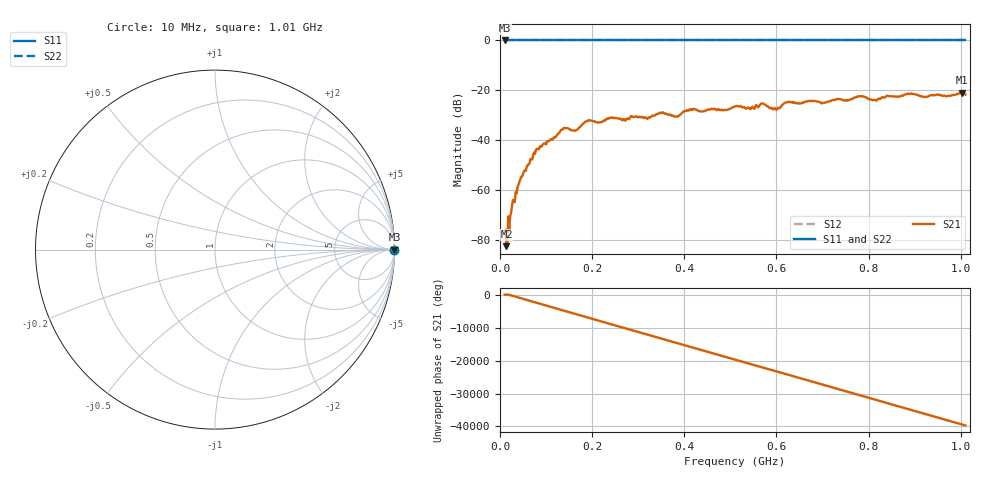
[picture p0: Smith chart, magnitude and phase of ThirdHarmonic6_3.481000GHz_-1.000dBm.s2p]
! 8/17/2025 11:19:19 AM
! C:\ANRITSUVNA\TEMP\TEMP.S2P
! CHANNEL.1
! TR.MEASUREMENT
! RAW.DATA
! RF.CORRECTION.OFF
! AVERAGING.OFF
! IF.BANDWIDTH: 5KHZ
! SWEEPTYPE:  FREQ.SWEEP(Linear)
! Reference Plane Port Info
! PORT:  PORT1  PORT2
! DISTANCE:  0  m  0  m
! TIME:  0  s  0  s
! PHASE.OFFSET:  0  deg.  0  deg.
! LOSS:  0  dB  0  dB
! REF.LOSS:  0  dB  0  dB
! REF.FREQ:  0  Hz  0  Hz
! Power Info
! POWER:  -20  dBm  -20  dBm
! EFF.POWER:  -20  dBm  -20  dBm
! SOURCE.ATTEN:  0  dB  0  dB
! TEST.ATTEN:  0  dB  0  dB
# GHZ S RI R 50.0
! FREQ.GHZ  S11RE  S11IM  S21RE  S21IM  S12RE  S12IM  S22RE  S22IM
!; PortSelection: Port_12
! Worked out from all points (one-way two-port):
!   501 points, 10 MHz to 1.01 GHz, reference 50 ohm
!   highest |S21| = -20.96 dB at 1.002 GHz (marker M1); lowest = -82.5 dB at 14 MHz (marker M2)
!   lowest |S11| = 0.0 dB at 10 MHz (marker M3)
!   |S11| at or under -10 dB: nowhere
!   |S22| runs from 0.0 to 0.0 dB; largest |S21 - S12| = 1.1
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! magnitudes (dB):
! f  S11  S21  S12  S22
! 10 MHz  0.0  -77.1  0.0  0.0
! 14 MHz  0.0  -82.5  0.0  0.0
! 18 MHz  0.0  -70.5  0.0  0.0
! 26 MHz  0.0  -66.3  0.0  0.0
! 42 MHz  0.0  -56.8  0.0  0.0
! 76 MHz  0.0  -45.5  0.0  0.0
! 136 MHz  0.0  -35.7  0.0  0.0
! 162 MHz  0.0  -36.2  0.0  0.0
! 178 MHz  0.0  -33.8  0.0  0.0
! 192 MHz  0.0  -31.9  0.0  0.0
! 322 MHz  0.0  -31.0  0.0  0.0
! 344 MHz  0.0  -29.4  0.0  0.0
! 382 MHz  0.0  -30.5  0.0  0.0
! 416 MHz  0.0  -27.9  0.0  0.0
! 510 MHz  0.0  -26.5  0.0  0.0
! 570 MHz  0.0  -25.2  0.0  0.0
! 596 MHz  0.0  -27.1  0.0  0.0
! 624 MHz  0.0  -24.7  0.0  0.0
! 678 MHz  0.0  -24.3  0.0  0.0
! 844 MHz  0.0  -22.4  0.0  0.0
! 1.002 GHz  0.0  -21.0  0.0  0.0
! 1.01 GHz  0.0  -21.7  0.0  0.0
